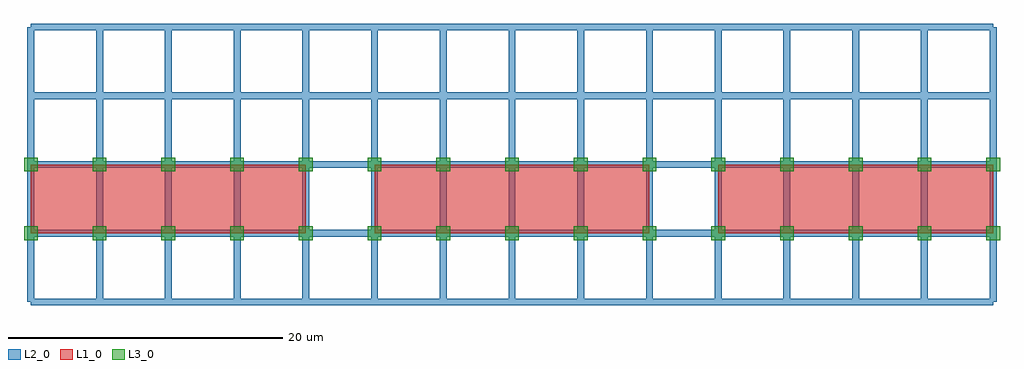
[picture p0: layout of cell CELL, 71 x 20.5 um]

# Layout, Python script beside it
import gdspy

# Create a new GDSII library
lib = gdspy.GdsLibrary()

# Create a new cell
cell = lib.new_cell('CELL')

# Define layers
active_layer = 1
polysilicon_layer = 2
contact_layer = 3

# Active region dimensions
active_width = 20  # µm
active_height = 5  # µm
active_spacing = 5  # µm

# Positions for the active regions
active1_x = 0
active2_x = active1_x + active_width + active_spacing  # 25 µm
active3_x = active2_x + active_width + active_spacing  # 50 µm
active_y = 0  # All active regions start at y=0

# Create active region rectangles
active1 = gdspy.Rectangle(
    (active1_x, active_y),
    (active1_x + active_width, active_y + active_height),
    layer=active_layer
)
active2 = gdspy.Rectangle(
    (active2_x, active_y),
    (active2_x + active_width, active_y + active_height),
    layer=active_layer
)
active3 = gdspy.Rectangle(
    (active3_x, active_y),
    (active3_x + active_width, active_y + active_height),
    layer=active_layer
)
cell.add([active1, active2, active3])

# Polysilicon gate grid dimensions
poly_width = 0.5  # µm

# Grid area dimensions
grid_x_min = 0
grid_x_max = 70  # Total width to cover active regions
grid_y_min = -5  # Extend below active regions
grid_y_max = 15  # Extend above active regions

# Spacing between polysilicon lines
vertical_spacing = 5  # µm
horizontal_spacing = 5  # µm

# Generate vertical polysilicon lines
vertical_lines = []
x_positions = []
x_pos = grid_x_min
while x_pos <= grid_x_max:
    line = gdspy.Rectangle(
        (x_pos - poly_width / 2, grid_y_min),
        (x_pos + poly_width / 2, grid_y_max),
        layer=polysilicon_layer
    )
    vertical_lines.append(line)
    x_positions.append(x_pos)
    x_pos += vertical_spacing
cell.add(vertical_lines)

# Generate horizontal polysilicon lines
horizontal_lines = []
y_positions = []
y_pos = grid_y_min
while y_pos <= grid_y_max:
    line = gdspy.Rectangle(
        (grid_x_min, y_pos - poly_width / 2),
        (grid_x_max, y_pos + poly_width / 2),
        layer=polysilicon_layer
    )
    horizontal_lines.append(line)
    y_positions.append(y_pos)
    y_pos += horizontal_spacing
cell.add(horizontal_lines)

# Identify positions within active regions for contact holes
y_positions_in_active = [
    y for y in y_positions if active_y <= y <= active_y + active_height
]
x_positions_in_active = []

# First active region
x_positions_in_active += [
    x for x in x_positions if active1_x <= x <= active1_x + active_width
]
# Second active region
x_positions_in_active += [
    x for x in x_positions if active2_x <= x <= active2_x + active_width
]
# Third active region
x_positions_in_active += [
    x for x in x_positions if active3_x <= x <= active3_x + active_width
]

# Create contact holes at intersections
contact_size = 1  # µm
contact_holes = []
for x in x_positions_in_active:
    for y in y_positions_in_active:
        contact = gdspy.Rectangle(
            (x - contact_size / 2, y - contact_size / 2),
            (x + contact_size / 2, y + contact_size / 2),
            layer=contact_layer
        )
        contact_holes.append(contact)
cell.add(contact_holes)

# Write the GDSII file
lib.write_gds('layout.gds')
